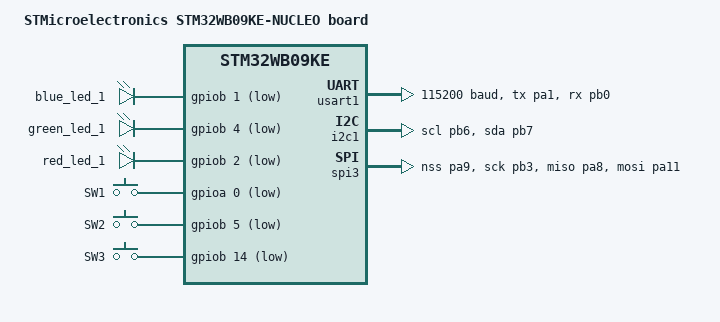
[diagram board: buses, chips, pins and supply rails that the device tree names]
/*
 * Copyright (c) 2024 STMicroelectronics
 *
 * SPDX-License-Identifier: Apache-2.0
 */

/dts-v1/;
#include <st/wb0/stm32wb09Xe.dtsi>
#include <st/wb0/stm32wb09kevx-pinctrl.dtsi>
#include <zephyr/dt-bindings/input/input-event-codes.h>

#include "arduino_r3_connector.dtsi"

/ {
	model = "STMicroelectronics STM32WB09KE-NUCLEO board";
	compatible = "st,stm32wb09ke-nucleo";

	#address-cells = <1>;
	#size-cells = <1>;

	chosen {
		zephyr,console = &usart1;
		zephyr,shell-uart = &usart1;
		zephyr,sram = &sram0;
		zephyr,flash = &flash0;
	};

	leds: leds {
		compatible ="gpio-leds";
		blue_led_1: led_0 {
			gpios = <&gpiob 1 (GPIO_ACTIVE_LOW | GPIO_PULL_UP)>;
		};
		green_led_1: led_1 {
			gpios = <&gpiob 4 (GPIO_ACTIVE_LOW | GPIO_PULL_UP)>;
		};
		red_led_1: led_2 {
			gpios = <&gpiob 2 (GPIO_ACTIVE_LOW | GPIO_PULL_UP)>;
		};
	};

	gpio_keys {
		compatible = "gpio-keys";
		user_button_1: button_0 {
			label = "SW1";
			gpios = <&gpioa 0 (GPIO_ACTIVE_LOW | GPIO_PULL_UP)>;
			zephyr,code = <INPUT_KEY_0>;
		};
		user_button_2: button_1 {
			label = "SW2";
			gpios = <&gpiob 5 (GPIO_ACTIVE_LOW | GPIO_PULL_UP)>;
			zephyr,code = <INPUT_KEY_1>;
		};
		user_button_3: button_2 {
			label = "SW3";
			gpios = <&gpiob 14 (GPIO_ACTIVE_LOW | GPIO_PULL_UP)>;
			zephyr,code = <INPUT_KEY_2>;
		};
	};

	aliases {
		led0 = &blue_led_1;
		led1 = &green_led_1;
		led2 = &red_led_1;
		sw0 = &user_button_1;
		sw1 = &user_button_2;
		sw2 = &user_button_3;
	};
};

&pwrc {
	smps-mode = "RUN";
	smps-bom = <3>;
};

&clk_lse {
	status = "okay";
};

&clk_hse {
	status = "okay";
};

&clk_hsi {
	status = "okay";
};

&pll {
	status = "okay";
};

&rcc {
	clocks = <&pll>;
	clock-frequency = <DT_FREQ_M(64)>;
	clksys-prescaler = <1>;
	slow-clock = <&clk_lse>;
};

&usart1 {
	pinctrl-0 = <&usart1_tx_pa1 &usart1_rx_pb0>;
	pinctrl-names = "default";
	current-speed = <115200>;
	status = "okay";
};

&i2c1 {
	pinctrl-0 = <&i2c1_scl_pb6 &i2c1_sda_pb7>;
	pinctrl-names = "default";
	status = "okay";
};

&spi3 {
	pinctrl-0 = <&spi3_nss_pa9 &spi3_sck_pb3 &spi3_miso_pa8 &spi3_mosi_pa11>;
	pinctrl-names = "default";
	status = "okay";
	/* Select 64MHz clock for SPI3 */
	clocks = <&rcc STM32_CLOCK_BUS_APB1 (1 << 14)>,
		<&rcc STM32_SRC_SYSCLK SPI3_I2S3_SEL(3)>;
};
